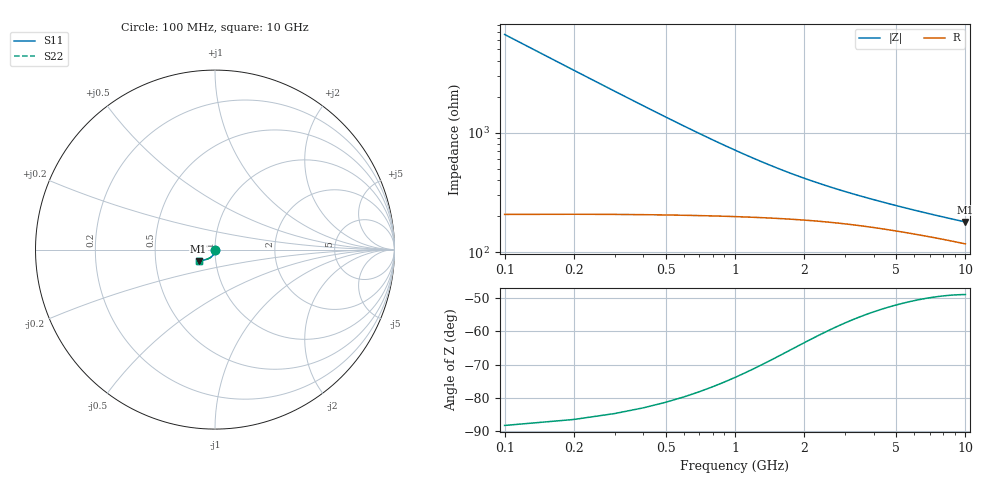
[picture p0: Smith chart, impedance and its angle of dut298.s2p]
! Touchstone file exported from HFSS 2024.1.0
!  File:  C:/UserFiles/LocalFiles/RDL_TSV_Batchsim/temp_TSV1_298_1778771226.aedt
!  Generated:  11:11:00 PM May 14, 2026
!  Design:  TSV1
!  Project:  temp_TSV1_298_1778771226
!  Setup:  Setup1
!  Solution:  Sweep
! Variables:
!  dtsv = 22.16um
!  hbump = 3um
!  htsv = 89.91um
!  lrdl = 252.1521522um
!  p = 40
!  p1 = 54.69um
!  t = 500um
!  trdl = 3um
!  wrdl = 24.89489489um
# GHz S MA R 50.000000
! Terminal data exported
! Port[1] = TSV22_T1
! Port[2] = TSV22_T2
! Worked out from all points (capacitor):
!   100 points, 100 MHz to 10 GHz, reference 50 ohm
!   read as one part in shunt: C = 240 fF near 100 MHz
!   lowest |Z| = 179 ohm at 10 GHz (marker M1)
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0.1  0.003459 -90.8  0.9998 -0.2  0.9998 -0.2  0.003459 -90.8
! Gamma 0 0 0 0
! Port Impedance 50 0 50 0
0.2  0.006901 -93.5  0.9994 -0.5  0.9994 -0.5  0.006901 -93.5
0.3  0.01031 -95.8  0.9988 -0.7  0.9988 -0.7  0.01031 -95.8
0.4  0.01367 -97.9  0.9979 -0.9  0.9979 -0.9  0.01367 -97.9
0.5  0.01696 -99.9  0.9968 -1.1  0.9968 -1.1  0.01696 -99.9
0.6  0.02018 -101.8  0.9956 -1.3  0.9956 -1.3  0.02018 -101.8
0.7  0.0233 -103.7  0.9942 -1.5  0.9942 -1.5  0.0233 -103.7
0.8  0.02632 -105.5  0.9928 -1.7  0.9928 -1.7  0.02632 -105.5
0.9  0.02923 -107.2  0.9912 -1.9  0.9912 -1.9  0.02923 -107.2
1.1  0.03471 -110.5  0.9878 -2.2  0.9878 -2.2  0.03471 -110.5
1.4  0.04208 -114.8  0.9825 -2.7  0.9825 -2.7  0.04208 -114.8
1.6  0.04645 -117.4  0.979 -2.9  0.979 -2.9  0.04645 -117.4
1.8  0.05042 -119.7  0.9755 -3.1  0.9755 -3.1  0.05042 -119.7
2.1  0.05573 -122.7  0.9706 -3.4  0.9706 -3.4  0.05573 -122.7
2.5  0.06181 -126.0  0.9646 -3.7  0.9646 -3.7  0.06181 -126.0
2.9  0.06702 -128.7  0.9592 -4.0  0.9592 -4.0  0.06702 -128.7
3.4  0.07263 -131.5  0.9533 -4.3  0.9533 -4.3  0.07263 -131.5
4.2  0.08013 -134.8  0.9452 -4.7  0.9452 -4.7  0.08013 -134.8
5.1  0.08711 -137.5  0.9378 -5.1  0.9378 -5.1  0.08711 -137.5
6.7  0.09698 -140.9  0.9272 -5.8  0.9272 -5.8  0.09698 -140.9
8.4  0.1051 -143.4  0.9187 -6.5  0.9187 -6.5  0.1051 -143.4
10  0.1112 -145.1  0.9124 -7.1  0.9124 -7.1  0.1112 -145.1
